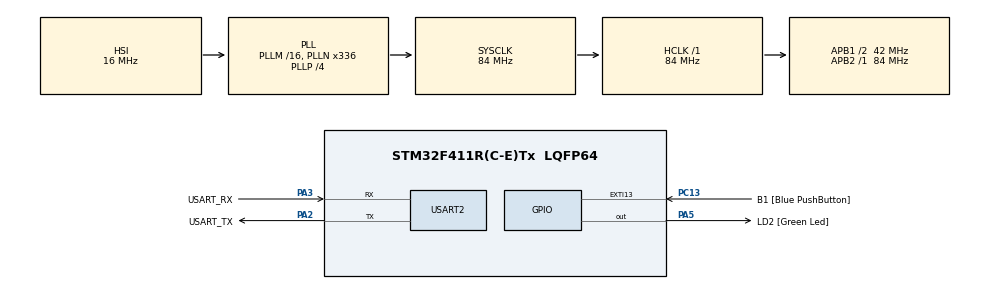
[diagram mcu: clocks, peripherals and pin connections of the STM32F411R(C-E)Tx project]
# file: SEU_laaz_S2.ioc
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Mcu.Family=STM32F4
Mcu.Name=STM32F411R(C-E)Tx
Mcu.Package=LQFP64
NVIC.PriorityGroup=NVIC_PRIORITYGROUP_0
PA13.GPIO_Label=TMS
PA13.Mode=Serial_Wire
PA13.Signal=SYS_JTMS-SWDIO
PA14.GPIO_Label=TCK
PA14.Mode=Serial_Wire
PA14.Signal=SYS_JTCK-SWCLK
PA2.GPIO_Label=USART_TX
PA2.Mode=Asynchronous
PA2.Signal=USART2_TX
PA3.GPIO_Label=USART_RX
PA3.Mode=Asynchronous
PA3.Signal=USART2_RX
PA5.GPIO_Label=LD2 [Green Led]
PA5.Signal=GPIO_Output
PB3.GPIO_Label=SWO
PB3.Signal=SYS_JTDO-SWO
PC13-ANTI_TAMP.GPIO_Label=B1 [Blue PushButton]
PC13-ANTI_TAMP.GPIO_ModeDefaultEXTI=GPIO_MODE_IT_FALLING
PC13-ANTI_TAMP.Signal=GPXTI13
PC14-OSC32_IN.Mode=LSE-External-Oscillator
PC14-OSC32_IN.Signal=RCC_OSC32_IN
PC15-OSC32_OUT.Mode=LSE-External-Oscillator
PC15-OSC32_OUT.Signal=RCC_OSC32_OUT
PH0\ -\ OSC_IN.Mode=HSE-External-Clock-Source
PH0\ -\ OSC_IN.Signal=RCC_OSC_IN
PH1\ -\ OSC_OUT.Mode=HSE-External-Clock-Source
PH1\ -\ OSC_OUT.Signal=RCC_OSC_OUT
ProjectManager.HeapSize=0x200
ProjectManager.StackSize=0x400
ProjectManager.TargetToolchain=STM32CubeIDE
RCC.48MHZClocksFreq_Value=84000000
RCC.AHBFreq_Value=84000000
RCC.APB1CLKDivider=RCC_HCLK_DIV2
RCC.APB1Freq_Value=42000000
RCC.APB1TimFreq_Value=84000000
RCC.APB2Freq_Value=84000000
RCC.APB2TimFreq_Value=84000000
RCC.CortexFreq_Value=84000000
RCC.FLatency-AdvancedSettings=FLASH_LATENCY_2
RCC.HCLKFreq_Value=84000000
RCC.HSE_VALUE=8000000
RCC.HSI_VALUE=16000000
RCC.PLLN=336
RCC.PLLP=RCC_PLLP_DIV4
RCC.SYSCLKFreq_VALUE=84000000
RCC.SYSCLKSource=RCC_SYSCLKSOURCE_PLLCLK
RCC.VCOOutputFreq_Value=336000000
USART2.VirtualMode=VM_ASYNC
board=NUCLEO-F411RE

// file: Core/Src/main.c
/* USER CODE BEGIN Header */
/**
  ******************************************************************************
  * @file           : main.c
  * @brief          : Main program body
  ******************************************************************************
  * @attention
  *
  * Copyright (c) 2023 STMicroelectronics.
  * All rights reserved.
  *
  * This software is licensed under terms that can be found in the LICENSE file
  * in the root directory of this software component.
  * If no LICENSE file comes with this software, it is provided AS-IS.
  *
  ******************************************************************************
  */
/* USER CODE END Header */
#include "main.h"

/* USER CODE BEGIN Includes */
#include <stdio.h>
/* USER CODE END Includes */

UART_HandleTypeDef huart2;

void SystemClock_Config(void);
static void MX_GPIO_Init(void);
static void MX_USART2_UART_Init(void);

/* USER CODE BEGIN 0 */

int _write(int file, char *ptr, int len){
    int DataIdx;
    for (DataIdx = 0; DataIdx < len; DataIdx++){
   	//ITM_SendChar( *ptr++ );
   	HAL_UART_Transmit(&huart2, (uint8_t*)ptr++,1,1000);
    }
    return len;
}

/*  punt1.c */
void ejer1(void){
 int v[3]={0,0,0};
 int *p=1;

  printf ("\r\n\r\r\n\r\nEjer1\r\n\r\n");

  printf("1   	 v= %p ; Valores v: %d %d %d\r\n",v, v[0], v[1], v[2]);
  printf("2   	 p= %p ; Valores p: %x %x %x\r\n",p, p[0], p[1], p[2]);

  v[0]=9; v[1]=8; v[2]=7; v[3]=6;
  printf("3   	 v= %p ; Valores v: %d %d %d\r\n",v, v[0], v[1], v[2]);
  p=v;
  printf("4   	 p= %p ; Valores p: %d %d %d\r\n",p, p[0], p[1], p[2]);
}

void ejer2(void){
 int v[3]={0,0,0};
 int *p=1;
  printf ("\r\n\r\r\n\r\nEjer2\r\n\r\n");

  printf("1   	 v= %p ; Valores v: %d %d %d\r\n",v, v[0], v[1], v[2]);
  printf("2   	 p= %p ; Valores p: %x %x %x\r\n",p, p[0], p[1], p[2]);
  v[0]=9; v[1]=8; v[2]=7; v[3]=6;
  printf("3   	 v= %p ; Valores v: %d %d %d\r\n",v, *(v),*(v+1),*(v+2));
  p=v;
  printf("4   	 p= %p ; Valores p: %d %d %d\r\n",p,*(p), *(p+1), *(p+1));
}

void ejer3(void){
	int v[3]={9,8,7,6};
	int v1 = 10;
	int v2 = 15;
	int v3 = 20;
	int *p =&v1;
  printf ("\r\n\r\r\n\r\nEjer3\r\n\r\n");
  printf("   	 p= %d ; Valor p: %d\r\n",p,*p);
  p=&v[1];
  printf("   	 p= %d ; Valor p: %d\r\n",p,*p);
  p=&*(v);
  printf("   	 p= %d ; Valor p: %d\r\n",p,*p);
  p=&v3;
  *p=40;
  *(p + 1)=50;
  *(p + 2)=60;
  printf("   	 v1= %d ;\r\n",v1);
  printf("   	 v2= %d ;\r\n",v2);
  printf("   	 v3= %d ;\r\n",v3);
}

void ejer4(void){
	int v[3]={9,8,7,6};
	int v1 = 10;
	int v2 = 15;
	int v3 = 20;
	int *p =&v1;
	int **ppi;
	printf ("\r\n\r\r\n\r\nEjer4\r\n\r\n");
	printf("   	 p= %d ; Valor p: %d\r\n",p,*p);
	ppi= &p;
	printf("   	 ppi= %d ; Valor ppi: %d\r\n",ppi,**ppi);

}

int suma1(int x1, int x2);
void suma2(int x1, int x2, int *x3);

void ejer5(void){
  int a=6, b=2, c, d;
  int *p_oper1;
  int *p_oper2;
  printf ("\r\n\r\nEjer5\r\n\r\n");
  c= suma1(a, b); printf("a + b = %d\r\n",c);
  suma2(a, b, &d); printf("a + b = %d\r\n",d);

} /* end main */

int suma1(int x1, int x2){
  return (x1+x2);
} /* end suma1 */

void suma2(int x1, int x2, int *x3){
  *x3= x1 + x2;
} /* end suma2 */

/* USER CODE END 0 */

int main(void)
{

  /* MCU Configuration--------------------------------------------------------*/

  /* Reset of all peripherals, Initializes the Flash interface and the Systick. */
  HAL_Init();

  /* Configure the system clock */
  SystemClock_Config();

  /* Initialize all configured peripherals */
  MX_GPIO_Init();
  MX_USART2_UART_Init();

  /* Infinite loop */
  while (1)
  {

  }
}

void SystemClock_Config(void)
{
  RCC_OscInitTypeDef RCC_OscInitStruct = {0};
  RCC_ClkInitTypeDef RCC_ClkInitStruct = {0};

  /** Configure the main internal regulator output voltage
  */
  __HAL_RCC_PWR_CLK_ENABLE();
  __HAL_PWR_VOLTAGESCALING_CONFIG(PWR_REGULATOR_VOLTAGE_SCALE1);

  /** Initializes the RCC Oscillators according to the specified parameters
  * in the RCC_OscInitTypeDef structure.
  */
  RCC_OscInitStruct.OscillatorType = RCC_OSCILLATORTYPE_HSI;
  RCC_OscInitStruct.HSIState = RCC_HSI_ON;
  RCC_OscInitStruct.HSICalibrationValue = RCC_HSICALIBRATION_DEFAULT;
  RCC_OscInitStruct.PLL.PLLState = RCC_PLL_ON;
  RCC_OscInitStruct.PLL.PLLSource = RCC_PLLSOURCE_HSI;
  RCC_OscInitStruct.PLL.PLLM = 16;
  RCC_OscInitStruct.PLL.PLLN = 336;
  RCC_OscInitStruct.PLL.PLLP = RCC_PLLP_DIV4;
  RCC_OscInitStruct.PLL.PLLQ = 4;
  if (HAL_RCC_OscConfig(&RCC_OscInitStruct) != HAL_OK)
  {
    Error_Handler();
  }

  /** Initializes the CPU, AHB and APB buses clocks
  */
  RCC_ClkInitStruct.ClockType = RCC_CLOCKTYPE_HCLK|RCC_CLOCKTYPE_SYSCLK
                              |RCC_CLOCKTYPE_PCLK1|RCC_CLOCKTYPE_PCLK2;
  RCC_ClkInitStruct.SYSCLKSource = RCC_SYSCLKSOURCE_PLLCLK;
  RCC_ClkInitStruct.AHBCLKDivider = RCC_SYSCLK_DIV1;
  RCC_ClkInitStruct.APB1CLKDivider = RCC_HCLK_DIV2;
  RCC_ClkInitStruct.APB2CLKDivider = RCC_HCLK_DIV1;

  if (HAL_RCC_ClockConfig(&RCC_ClkInitStruct, FLASH_LATENCY_2) != HAL_OK)
  {
    Error_Handler();
  }
}

static void MX_USART2_UART_Init(void)
{

  huart2.Instance = USART2;
  huart2.Init.BaudRate = 115200;
  huart2.Init.WordLength = UART_WORDLENGTH_8B;
  huart2.Init.StopBits = UART_STOPBITS_1;
  huart2.Init.Parity = UART_PARITY_NONE;
  huart2.Init.Mode = UART_MODE_TX_RX;
  huart2.Init.HwFlowCtl = UART_HWCONTROL_NONE;
  huart2.Init.OverSampling = UART_OVERSAMPLING_16;
  if (HAL_UART_Init(&huart2) != HAL_OK)
  {
    Error_Handler();
  }

}

static void MX_GPIO_Init(void)
{
  GPIO_InitTypeDef GPIO_InitStruct = {0};

  /* GPIO Ports Clock Enable */
  __HAL_RCC_GPIOC_CLK_ENABLE();
  __HAL_RCC_GPIOH_CLK_ENABLE();
  __HAL_RCC_GPIOA_CLK_ENABLE();
  __HAL_RCC_GPIOB_CLK_ENABLE();

  /*Configure GPIO pin Output Level */
  HAL_GPIO_WritePin(LD2_GPIO_Port, LD2_Pin, GPIO_PIN_RESET);

  /*Configure GPIO pin : B1_Pin */
  GPIO_InitStruct.Pin = B1_Pin;
  GPIO_InitStruct.Mode = GPIO_MODE_IT_FALLING;
  GPIO_InitStruct.Pull = GPIO_NOPULL;
  HAL_GPIO_Init(B1_GPIO_Port, &GPIO_InitStruct);

  /*Configure GPIO pin : LD2_Pin */
  GPIO_InitStruct.Pin = LD2_Pin;
  GPIO_InitStruct.Mode = GPIO_MODE_OUTPUT_PP;
  GPIO_InitStruct.Pull = GPIO_NOPULL;
  GPIO_InitStruct.Speed = GPIO_SPEED_FREQ_LOW;
  HAL_GPIO_Init(LD2_GPIO_Port, &GPIO_InitStruct);

}

void Error_Handler(void)
{
  __disable_irq();
  while (1)
  {
  }
}
